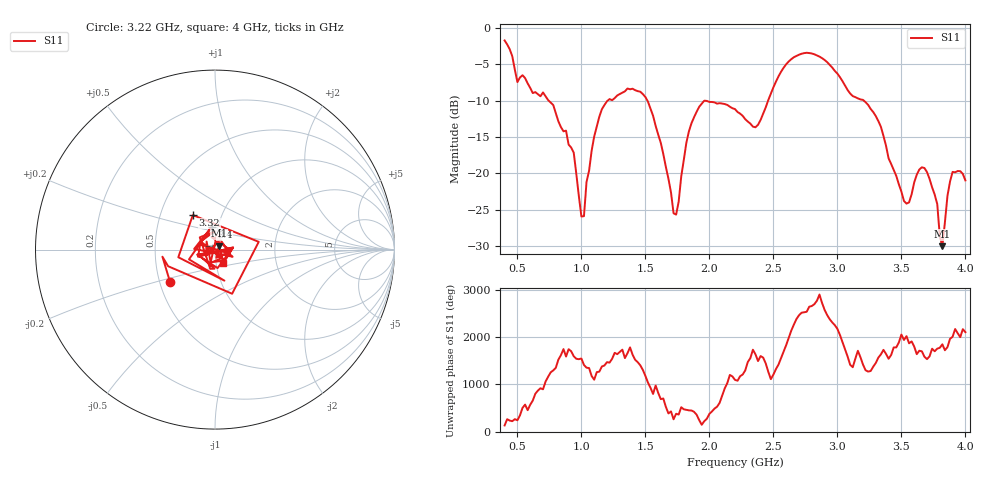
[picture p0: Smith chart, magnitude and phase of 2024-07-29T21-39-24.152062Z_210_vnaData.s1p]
!Created with skrf (http://scikit-rf.org).
# Hz S RI R 50.0
!freq ReS11 ImS11
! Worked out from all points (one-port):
!   181 points, 400 MHz to 4 GHz, reference 50 ohm
!   lowest |S11| = -30.0 dB at 3.82 GHz (marker M1), VSWR 1.07, Z = 52.3 + j2.33 ohm
!   |S11| at or under -10 dB: 743.9 MHz to 1.206 GHz (461.9 MHz wide, 47.4 % of centre); 1.515 GHz to 2.459 GHz (943.3 MHz wide, 47.5 % of centre); 3.206 GHz to end of sweep
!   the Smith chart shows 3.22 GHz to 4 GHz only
!   S11 on the Smith chart (normalised r, x): 3.22 GHz: 0.57, -0.23; 3.32 GHz: 0.73, +0.30; 3.4 GHz: 0.93, +0.24; 4 GHz: 1.08, -0.17
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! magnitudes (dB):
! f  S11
! 400 MHz  -1.7
! 500 MHz  -7.5
! 700 MHz  -8.9
! 860 MHz  -14.2
! 940 MHz  -17.1
! 1.02 GHz  -25.9
! 1.04 GHz  -21.2
! 1.14 GHz  -12.2
! 1.3 GHz  -9.1
! 1.52 GHz  -10.2
! 1.72 GHz  -25.5
! 1.76 GHz  -23.9
! 1.82 GHz  -15.8
! 1.92 GHz  -10.9
! 2.2 GHz  -11.2
! 2.36 GHz  -13.7
! 2.66 GHz  -4.0
! 2.88 GHz  -4.2
! 3.1 GHz  -9.0
! 3.22 GHz  -10.2
! 3.32 GHz  -12.8
! 3.4 GHz  -17.9
! 3.56 GHz  -24.0
! 3.68 GHz  -19.3
! 3.78 GHz  -24.2
! 3.82 GHz  -30.0
! 3.9 GHz  -19.8
! 4 GHz  -21.0
